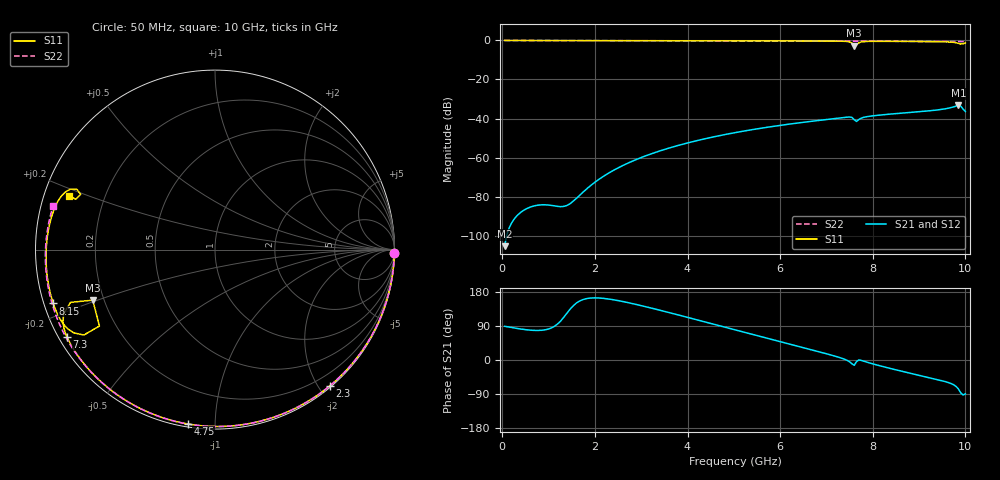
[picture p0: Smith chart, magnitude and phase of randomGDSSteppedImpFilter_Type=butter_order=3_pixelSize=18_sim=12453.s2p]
! freq	dB(S11)	phase(S11)	dB(S12)	phase(S12)
!  dB(S21)	phase(S21)	dB(S22)	phase(S22)
!S-par simulation data
#  GHz  S  DB  R 50
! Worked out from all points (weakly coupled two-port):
!   200 points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, 50 MHz to 10 GHz, reference 50 ohm
!   highest |S21| = -33.30 dB at 9.85 GHz (marker M1); lowest = -105.4 dB at 50 MHz (marker M2)
!   lowest |S11| = -2.7 dB at 7.6 GHz (marker M3), VSWR 6.60, Z = 7.86 - j9.69 ohm
!   |S11| at or under -10 dB: nowhere
!   |S22| runs from -0.6 to 0.0 dB; largest |S21 - S12| = 0
!   S11 on the Smith chart (normalised r, x): 50 MHz: open; 2.3 GHz: 0.02, -2.15; 4.75 GHz: 0.01, -0.86; 7.3 GHz: 0.02, -0.27; 8.15 GHz: 0.03, -0.16; 10 GHz: 0.08, +0.18
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0.05  -0.00 -1.1  -105.41 89.0  -105.41 89.0  -0.00 -1.2
0.8  -0.02 -17.7  -84.32 78.1  -84.32 78.1  -0.02 -18.2
1.6  -0.04 -35.1  -80.94 150.3  -80.94 150.3  -0.05 -36.0
1.75  -0.05 -38.3  -77.59 159.7  -77.59 159.7  -0.05 -39.3
2.3  -0.06 -50.0  -67.92 160.9  -67.92 160.9  -0.06 -51.1
2.8  -0.08 -60.3  -61.94 149.1  -61.94 149.1  -0.08 -61.6
3.4  -0.10 -72.5  -56.62 131.5  -56.62 131.5  -0.10 -73.9
4.75  -0.15 -98.9  -48.49 88.5  -48.49 88.5  -0.15 -100.0
5.05  -0.16 -104.7  -47.13 78.8  -47.13 78.8  -0.16 -105.5
6.7  -0.27 -136.2  -41.35 26.2  -41.35 26.2  -0.26 -135.1
7.3  -0.38 -149.5  -39.69 5.9  -39.69 5.9  -0.30 -145.6
7.5  -0.77 -157.1  -39.23 -4.8  -39.23 -4.8  -0.32 -149.1
7.55  -1.34 -159.9  -39.43 -10.0  -39.43 -10.0  -0.33 -150.0
7.6  -2.65 -157.5  -40.65 -14.0  -40.65 -14.0  -0.33 -150.9
7.65  -2.25 -146.5  -41.50 -4.0  -41.50 -4.0  -0.33 -151.8
7.7  -1.19 -146.9  -40.49 0.2  -40.49 0.2  -0.34 -152.6
7.85  -0.54 -153.6  -39.16 -4.9  -39.16 -4.9  -0.35 -155.3
8.15  -0.45 -161.6  -38.24 -15.2  -38.24 -15.2  -0.38 -160.6
8.35  -0.46 -166.2  -37.79 -21.4  -37.79 -21.4  -0.40 -164.2
9.35  -0.62 170.6  -35.73 -50.4  -35.73 -50.4  -0.51 177.6
9.85  -1.50 156.4  -33.30 -76.7  -33.30 -76.7  -0.57 168.0
10  -1.27 159.8  -36.37 -89.3  -36.37 -89.3  -0.59 165.1
